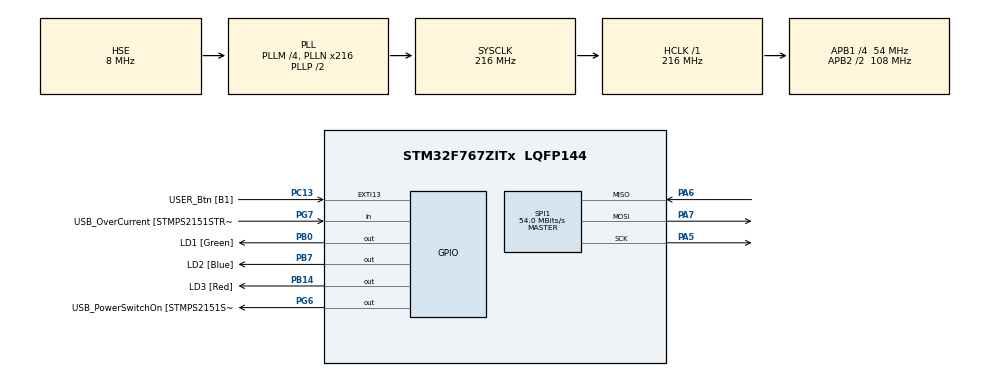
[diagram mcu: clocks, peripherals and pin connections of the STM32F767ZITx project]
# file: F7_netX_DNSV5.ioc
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Mcu.Family=STM32F7
Mcu.Name=STM32F767ZITx
Mcu.Package=LQFP144
NVIC.PriorityGroup=NVIC_PRIORITYGROUP_4
PA13.GPIO_Label=TMS
PA13.Mode=Serial_Wire
PA13.Signal=SYS_JTMS-SWDIO
PA14.GPIO_Label=TCK
PA14.Mode=Serial_Wire
PA14.Signal=SYS_JTCK-SWCLK
PA5.Mode=Full_Duplex_Master
PA5.Signal=SPI1_SCK
PA6.Mode=Full_Duplex_Master
PA6.Signal=SPI1_MISO
PA7.Mode=Full_Duplex_Master
PA7.Signal=SPI1_MOSI
PB0.GPIO_Label=LD1 [Green]
PB0.Signal=GPIO_Output
PB14.GPIO_Label=LD3 [Red]
PB14.Signal=GPIO_Output
PB7.GPIO_Label=LD2 [Blue]
PB7.Signal=GPIO_Output
PC13.GPIO_Label=USER_Btn [B1]
PC13.Signal=GPXTI13
PC14/OSC32_IN.Mode=LSE-External-Oscillator
PC14/OSC32_IN.Signal=RCC_OSC32_IN
PC15/OSC32_OUT.Mode=LSE-External-Oscillator
PC15/OSC32_OUT.Signal=RCC_OSC32_OUT
PG6.GPIO_Label=USB_PowerSwitchOn [STMPS2151STR_EN]
PG6.Signal=GPIO_Output
PG7.GPIO_Label=USB_OverCurrent [STMPS2151STR_FAULT]
PG7.Signal=GPIO_Input
PH0/OSC_IN.GPIO_Label=MCO [STM32F103CBT6_PA8]
PH0/OSC_IN.Mode=HSE-External-Clock-Source
PH0/OSC_IN.Signal=RCC_OSC_IN
PH1/OSC_OUT.Mode=HSE-External-Clock-Source
PH1/OSC_OUT.Signal=RCC_OSC_OUT
ProjectManager.HeapSize=0x200
ProjectManager.StackSize=0x400
ProjectManager.TargetToolchain=STM32CubeIDE
RCC.48MHZClocksFreq_Value=24000000
RCC.AHBFreq_Value=216000000
RCC.APB1CLKDivider=RCC_HCLK_DIV4
RCC.APB1Freq_Value=54000000
RCC.APB1TimFreq_Value=108000000
RCC.APB2CLKDivider=RCC_HCLK_DIV2
RCC.APB2Freq_Value=108000000
RCC.APB2TimFreq_Value=216000000
RCC.CortexFreq_Value=216000000
RCC.HCLKFreq_Value=216000000
RCC.HSE_VALUE=8000000
RCC.HSI_VALUE=16000000
RCC.PLLM=4
RCC.PLLMUL=RCC_PLL_MUL9
RCC.PLLN=216
RCC.PLLQ=4
RCC.PLLSourceVirtual=RCC_PLLSOURCE_HSE
RCC.PRESCALERUSB=RCC_USBCLKSOURCE_PLL_DIV1_5
RCC.SYSCLKFreq_VALUE=216000000
RCC.SYSCLKSource=RCC_SYSCLKSOURCE_PLLCLK
RCC.SYSCLKSourceVirtual=RCC_SYSCLKSOURCE_PLLCLK
RCC.USBFreq_Value=108000000
RCC.VCOOutputFreq_Value=432000000
SPI1.CalculateBaudRate=54.0 MBits/s
SPI1.Direction=SPI_DIRECTION_2LINES
SPI1.Mode=SPI_MODE_MASTER
SPI1.VirtualType=VM_MASTER
board=NUCLEO-F767ZI

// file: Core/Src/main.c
/* USER CODE BEGIN Header */
/**
  ******************************************************************************
  * @file           : main.c
  * @brief          : Main program body
  ******************************************************************************
  * @attention
  *
  * <h2><center>&copy; Copyright (c) 2022 STMicroelectronics.
  * All rights reserved.</center></h2>
  *
  * This software component is licensed by ST under BSD 3-Clause license,
  * the "License"; You may not use this file except in compliance with the
  * License. You may obtain a copy of the License at:
  *                        opensource.org/licenses/BSD-3-Clause
  *
  ******************************************************************************
  */
/* USER CODE END Header */
#include "main.h"

/* USER CODE BEGIN Includes */
#include "OS_Includes.h"
#include "OS_Spi.h"
#include "cifXEndianess.h"
#include "cifXErrors.h"
#include "cifXToolkit.h"
#include "SerialDPMInterface.h"
#include <stdbool.h>
#include "App_DemoApplication.h"
/* USER CODE END Includes */

extern SPI_HandleTypeDef SpiHandle;

void SystemClock_Config(void);
static void MX_GPIO_Init(void);
static void MX_SPI1_Init(void);
/* USER CODE BEGIN PFP */
/*****************************************************************************/
static bool isCookieAvailable(PDEVICEINSTANCE ptDevInstance, uint32_t ulTimeoutInMs)
{
	bool fCookieAvailable = false;
	char szCookie[5];
	uint32_t starttime;
	uint32_t difftime = 0;

	starttime = OS_GetMilliSecCounter();

	while(false == fCookieAvailable && difftime < ulTimeoutInMs)
	{
		OS_Memset(szCookie, 0, sizeof(szCookie));

		HWIF_READN(ptDevInstance, szCookie, ptDevInstance->pbDPM, 4);

		/** on DPM cards we need to check the for a valid cookie */
		if( (0 == OS_Strcmp( szCookie, CIFX_DPMSIGNATURE_BSL_STR)) ||
				(0 == OS_Strcmp( szCookie, CIFX_DPMSIGNATURE_FW_STR)) )
		{
			/** We have a firmware or bootloader running, so we assume it is a flash based device */
			/** NOTE: If the driver is restarted and a RAM based FW was downloaded before this
           will result in the device being handled as flash based.
           Currently there is no way to detect this */
			fCookieAvailable = true;
		}else
		{
			fCookieAvailable = false;
			difftime = OS_GetMilliSecCounter() - starttime;
		}
	}
	if(false == fCookieAvailable)
	{
		;//printf("DPM cookie not available since %u milliseconds\r\n", (unsigned int)ulTimeoutInMs);
	}
	return fCookieAvailable;
}
/*****************************************************************************/
static int32_t InitializeToolkit(){
	int32_t      lRet              = 0;                                                  /* Return value for common error codes      */

	/* First of all initialize toolkit */
	lRet = cifXTKitInit();

	if(CIFX_NO_ERROR == lRet)
	{
		DEVICEINSTANCE *ptDevInstance = (DEVICEINSTANCE*)OS_Memalloc(sizeof(*ptDevInstance));
		OS_Memset(ptDevInstance, 0, sizeof(*ptDevInstance));

		/* Set trace level of toolkit */
		g_ulTraceLevel = TRACE_LEVEL_ERROR   |
				TRACE_LEVEL_WARNING |
				TRACE_LEVEL_INFO    |
				TRACE_LEVEL_DEBUG;

		/* Insert the basic device information , into the DeviceInstance structure
       for the toolkit. The DPM address must be zero, as we only transfer address
       offsets via the SPI interface.
       NOTE: The physical address and irq number are for information use
             only, so we skip them here. Interrupt is currently not supported
             and ignored, so we dont need to set it */
		ptDevInstance->fPCICard          = 0;
		ptDevInstance->pvOSDependent     = ptDevInstance;
		ptDevInstance->ulDPMSize         = 0x8000;//0x10000;
		OS_Strncpy(ptDevInstance->szName, "cifX0", sizeof(ptDevInstance->szName));

		/* netX needs some time until SPM is ready for netX type autodetection */
		OS_Sleep(500);

		/* netX type corresponding SPM initialization */
		printf("netX type detection and SPM initialisation ...\n\r");
		lRet=SerialDPM_Init(ptDevInstance);
		printf("netX type 0x%02x\n\r",(char)lRet);

		/** we know that netX firmware is flash based in this application, therefore we check if it starts up
		 ** by comparing cookie at DPM address 0x00 is valid.*/
		while( false == isCookieAvailable(ptDevInstance, 100) );

		/* Add the device to the toolkits handled device list */
		lRet = cifXTKitAddDevice(ptDevInstance);
	}
	return lRet;
}
/* USER CODE END PFP */

int main(void)
{
  /* USER CODE BEGIN 1 */
  int32_t lRet=CIFX_NO_ERROR;    /* Return value for common error codes      */
  /* USER CODE END 1 */

  /* MCU Configuration--------------------------------------------------------*/

  /* Reset of all peripherals, Initializes the Flash interface and the Systick. */
  HAL_Init();

  /* Configure the system clock */
  SystemClock_Config();

  /* Initialize all configured peripherals */
  MX_GPIO_Init();
  MX_SPI1_Init();
  /* USER CODE BEGIN 2 */
  lRet = InitializeToolkit();

  if(CIFX_NO_ERROR == lRet)
  {
    lRet = App_CifXApplicationDemo("cifX0");
  }

  /* USER CODE END 2 */

  /* Infinite loop */
  while (1)
  {

  }
}

void SystemClock_Config(void)
{
  RCC_OscInitTypeDef RCC_OscInitStruct = {0};
  RCC_ClkInitTypeDef RCC_ClkInitStruct = {0};

  /** Configure LSE Drive Capability
  */
  HAL_PWR_EnableBkUpAccess();
  /** Configure the main internal regulator output voltage
  */
  __HAL_RCC_PWR_CLK_ENABLE();
  __HAL_PWR_VOLTAGESCALING_CONFIG(PWR_REGULATOR_VOLTAGE_SCALE1);
  /** Initializes the RCC Oscillators according to the specified parameters
  * in the RCC_OscInitTypeDef structure.
  */
  RCC_OscInitStruct.OscillatorType = RCC_OSCILLATORTYPE_HSE;
  RCC_OscInitStruct.HSEState = RCC_HSE_BYPASS;
  RCC_OscInitStruct.PLL.PLLState = RCC_PLL_ON;
  RCC_OscInitStruct.PLL.PLLSource = RCC_PLLSOURCE_HSE;
  RCC_OscInitStruct.PLL.PLLM = 4;
  RCC_OscInitStruct.PLL.PLLN = 216;
  RCC_OscInitStruct.PLL.PLLP = RCC_PLLP_DIV2;
  RCC_OscInitStruct.PLL.PLLQ = 4;
  RCC_OscInitStruct.PLL.PLLR = 2;
  if (HAL_RCC_OscConfig(&RCC_OscInitStruct) != HAL_OK)
  {
    Error_Handler();
  }
  /** Activate the Over-Drive mode
  */
  if (HAL_PWREx_EnableOverDrive() != HAL_OK)
  {
    Error_Handler();
  }
  /** Initializes the CPU, AHB and APB buses clocks
  */
  RCC_ClkInitStruct.ClockType = RCC_CLOCKTYPE_HCLK|RCC_CLOCKTYPE_SYSCLK
                              |RCC_CLOCKTYPE_PCLK1|RCC_CLOCKTYPE_PCLK2;
  RCC_ClkInitStruct.SYSCLKSource = RCC_SYSCLKSOURCE_PLLCLK;
  RCC_ClkInitStruct.AHBCLKDivider = RCC_SYSCLK_DIV1;
  RCC_ClkInitStruct.APB1CLKDivider = RCC_HCLK_DIV4;
  RCC_ClkInitStruct.APB2CLKDivider = RCC_HCLK_DIV2;

  if (HAL_RCC_ClockConfig(&RCC_ClkInitStruct, FLASH_LATENCY_7) != HAL_OK)
  {
    Error_Handler();
  }
}

static void MX_SPI1_Init(void)
{

  /* USER CODE BEGIN SPI1_Init 0 */
	/*##-1- Configure the SPI peripheral #######################################*/
	/* Set the SPI parameters */
	SpiHandle.Instance               = SPIx;
	SpiHandle.Init.BaudRatePrescaler = SPI_BAUDRATEPRESCALER_16;
	SpiHandle.Init.Direction         = SPI_DIRECTION_2LINES;
	SpiHandle.Init.CLKPhase          = SPI_PHASE_2EDGE;
	SpiHandle.Init.CLKPolarity       = SPI_POLARITY_HIGH;
	SpiHandle.Init.DataSize          = SPI_DATASIZE_8BIT;
	SpiHandle.Init.FirstBit          = SPI_FIRSTBIT_MSB;
	SpiHandle.Init.TIMode            = SPI_TIMODE_DISABLE;
	SpiHandle.Init.CRCCalculation    = SPI_CRCCALCULATION_DISABLE;
	SpiHandle.Init.CRCPolynomial     = 7;
	SpiHandle.Init.NSS               = SPI_NSS_SOFT; //SPI_NSS_HARD_OUTPUT;  // original: SPI_NSS_SOFT
	SpiHandle.Init.Mode              = SPI_MODE_MASTER;

	if(HAL_SPI_Init(&SpiHandle) != HAL_OK)
	{
		/* Initialization Error */
		Error_Handler();
	}

	/* Configure the GPIO pin D14 as SPI CS  */
	GPIO_InitTypeDef  GPIO_InitStruct;
	GPIO_InitStruct.Pin = SPM_CS_PIN;
	GPIO_InitStruct.Mode = GPIO_MODE_OUTPUT_PP;
	GPIO_InitStruct.Pull = GPIO_NOPULL;
	GPIO_InitStruct.Speed = GPIO_SPEED_FREQ_LOW;
	__HAL_RCC_GPIOD_CLK_ENABLE();
	HAL_GPIO_Init(SPM_CS_GPIO_PORT, &GPIO_InitStruct);
	HAL_GPIO_WritePin(GPIOD, SPM_CS_PIN, GPIO_PIN_SET);
  /* USER CODE END SPI1_Init 0 */

  /* SPI1 parameter configuration*/
#if 0
  SpiHandle.Instance = SPIx;
  SpiHandle.Init.Mode = SPI_MODE_MASTER;
  SpiHandle.Init.Direction = SPI_DIRECTION_2LINES;
  SpiHandle.Init.DataSize = SPI_DATASIZE_8BIT;//SPI_DATASIZE_4BIT;
  SpiHandle.Init.CLKPolarity = SPI_POLARITY_HIGH;//SPI_POLARITY_LOW;
  SpiHandle.Init.CLKPhase = SPI_PHASE_2EDGE;//SPI_PHASE_1EDGE;
  SpiHandle.Init.NSS = SPI_NSS_SOFT;
  SpiHandle.Init.BaudRatePrescaler = SPI_BAUDRATEPRESCALER_2;
  SpiHandle.Init.FirstBit = SPI_FIRSTBIT_MSB;
  SpiHandle.Init.TIMode = SPI_TIMODE_DISABLE;
  SpiHandle.Init.CRCCalculation = SPI_CRCCALCULATION_DISABLE;
  SpiHandle.Init.CRCPolynomial = 7;
  SpiHandle.Init.CRCLength = SPI_CRC_LENGTH_DATASIZE;
  SpiHandle.Init.NSSPMode = SPI_NSS_PULSE_ENABLE;
  if (HAL_SPI_Init(&SpiHandle) != HAL_OK)
  {
    Error_Handler();
  }
  /* USER CODE BEGIN SPI1_Init 2 */
  /* Configure the GPIO pin D14 as SPI CS  */
  	GPIO_InitTypeDef  GPIO_InitStruct;
  	GPIO_InitStruct.Pin = GPIO_PIN_14;
  	GPIO_InitStruct.Mode = GPIO_MODE_OUTPUT_PP;
  	GPIO_InitStruct.Pull = GPIO_NOPULL;
  	GPIO_InitStruct.Speed = GPIO_SPEED_FREQ_LOW;
  	__HAL_RCC_GPIOD_CLK_ENABLE();
  	HAL_GPIO_Init(GPIOD, &GPIO_InitStruct);
  	HAL_GPIO_WritePin(GPIOD, GPIO_PIN_14, GPIO_PIN_SET);
  /* USER CODE END SPI1_Init 2 */
#endif
}

static void MX_GPIO_Init(void)
{
  GPIO_InitTypeDef GPIO_InitStruct = {0};

  /* GPIO Ports Clock Enable */
  __HAL_RCC_GPIOC_CLK_ENABLE();
  __HAL_RCC_GPIOH_CLK_ENABLE();
  __HAL_RCC_GPIOA_CLK_ENABLE();
  __HAL_RCC_GPIOB_CLK_ENABLE();
  __HAL_RCC_GPIOG_CLK_ENABLE();

  /*Configure GPIO pin Output Level */
  HAL_GPIO_WritePin(GPIOB, LD1_Pin|LD3_Pin|LD2_Pin, GPIO_PIN_RESET);

  /*Configure GPIO pin Output Level */
  HAL_GPIO_WritePin(USB_PowerSwitchOn_GPIO_Port, USB_PowerSwitchOn_Pin, GPIO_PIN_RESET);

  /*Configure GPIO pin : USER_Btn_Pin */
  GPIO_InitStruct.Pin = USER_Btn_Pin;
  GPIO_InitStruct.Mode = GPIO_MODE_IT_RISING;
  GPIO_InitStruct.Pull = GPIO_NOPULL;
  HAL_GPIO_Init(USER_Btn_GPIO_Port, &GPIO_InitStruct);

  /*Configure GPIO pins : LD1_Pin LD3_Pin LD2_Pin */
  GPIO_InitStruct.Pin = LD1_Pin|LD3_Pin|LD2_Pin;
  GPIO_InitStruct.Mode = GPIO_MODE_OUTPUT_PP;
  GPIO_InitStruct.Pull = GPIO_NOPULL;
  GPIO_InitStruct.Speed = GPIO_SPEED_FREQ_LOW;
  HAL_GPIO_Init(GPIOB, &GPIO_InitStruct);

  /*Configure GPIO pin : USB_PowerSwitchOn_Pin */
  GPIO_InitStruct.Pin = USB_PowerSwitchOn_Pin;
  GPIO_InitStruct.Mode = GPIO_MODE_OUTPUT_PP;
  GPIO_InitStruct.Pull = GPIO_NOPULL;
  GPIO_InitStruct.Speed = GPIO_SPEED_FREQ_LOW;
  HAL_GPIO_Init(USB_PowerSwitchOn_GPIO_Port, &GPIO_InitStruct);

  /*Configure GPIO pin : USB_OverCurrent_Pin */
  GPIO_InitStruct.Pin = USB_OverCurrent_Pin;
  GPIO_InitStruct.Mode = GPIO_MODE_INPUT;
  GPIO_InitStruct.Pull = GPIO_NOPULL;
  HAL_GPIO_Init(USB_OverCurrent_GPIO_Port, &GPIO_InitStruct);

}

void Error_Handler(void)
{
  __disable_irq();
  while (1)
  {
  }
}

/************************ (C) COPYRIGHT STMicroelectronics *****END OF FILE****/
